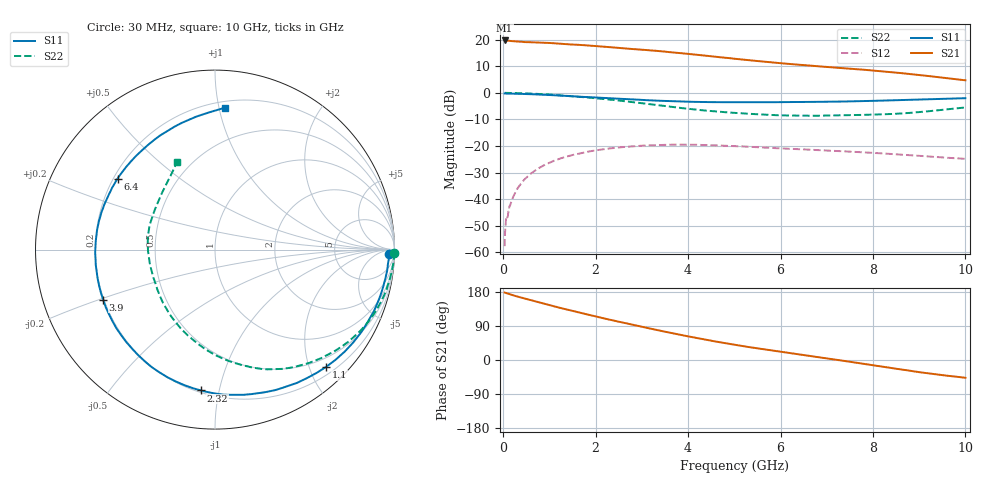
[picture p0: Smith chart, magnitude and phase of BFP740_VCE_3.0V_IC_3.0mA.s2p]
! Infineon Technologies  Discrete & RF Semiconductors
! BFP740
! VCE =  3.0 V,  IC =  3.0 mA
! Common Emitter S-Parameters:  Jan 2016
# GHz  S  MA  R  50
!  f  S11  S21  S12  S22
! GHz  MAG  ANG  MAG  ANG  MAG  ANG  MAG  ANG
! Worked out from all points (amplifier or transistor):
!   229 points, 30 MHz to 10 GHz, reference 50 ohm
!   highest |S21| = 19.7 dB at 30 MHz (marker M1)
!   |S21| within 3 dB of that: start of sweep to 2.634 GHz
!   unconditionally stable (mu >= 1): 8.251 GHz to end of sweep
!   at 280 MHz: K = 0.05, MSG = 28.1 dB, |S12| = -36.9 dB
!   at 1.78 GHz: K = 0.19, MSG = 20.1 dB, |S12| = -22.3 dB
!   at 10 GHz: K = 1.24, MAG = 11.8 dB, |S12| = -24.9 dB
!   S11 on the Smith chart (normalised r, x): 30 MHz: 42, -31; 1.1 GHz: 0.33, -2.29; 2.32 GHz: 0.21, -0.88; 3.9 GHz: 0.20, -0.21; 6.4 GHz: 0.22, +0.31; 10 GHz: 0.25, +1.04
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0.03  0.9697 -1.3  9.663 178.0  0.0013 85.4  0.9989 -1.0
0.04  0.9695 -1.7  9.501 177.5  0.0024 86.7  0.9986 -1.3
0.06  0.9694 -2.6  9.647 176.6  0.0044 95.5  0.9989 -1.9
0.3  0.9593 -12.9  9.253 167.6  0.0154 82.9  0.9886 -8.9
0.8  0.9276 -34.0  8.831 151.4  0.0396 66.6  0.9511 -23.3
1.1  0.9003 -46.5  8.549 141.7  0.0527 58.3  0.9157 -31.8
1.5  0.8605 -62.7  8.103 129.5  0.0675 47.8  0.8626 -42.4
1.7  0.8415 -70.9  7.899 123.6  0.0739 43.1  0.8347 -47.6
2  0.8158 -83.0  7.592 115.1  0.0826 36.0  0.7918 -55.5
2.32  0.7889 -95.7  7.204 106.0  0.0901 28.3  0.7424 -63.8
2.9  0.7439 -118.2  6.577 90.4  0.0995 16.0  0.6522 -78.3
3.4  0.7076 -137.6  6.056 77.2  0.1044 6.0  0.5782 -91.5
3.9  0.683 -155.9  5.521 64.8  0.1056 -3.2  0.5114 -105.0
4.4  0.6698 -172.7  4.978 53.1  0.1041 -11.7  0.4616 -118.1
5.1  0.6653 168.4  4.297 38.3  0.0987 -21.2  0.4139 -134.6
5.8  0.6655 154.2  3.735 25.3  0.0917 -28.6  0.3821 -150.0
6.4  0.6713 144.0  3.38 14.9  0.0868 -33.3  0.3717 -164.0
6.8  0.6761 137.1  3.165 7.8  0.0836 -36.4  0.3707 -173.6
7.6  0.6917 123.0  2.796 -6.5  0.0774 -41.7  0.3816 168.2
8.4  0.7214 108.1  2.443 -21.2  0.0706 -46.0  0.3992 148.4
9  0.7483 98.0  2.17 -32.1  0.0652 -47.9  0.4338 132.6
10  0.7918 86.1  1.718 -47.0  0.0572 -47.6  0.5302 113.6
